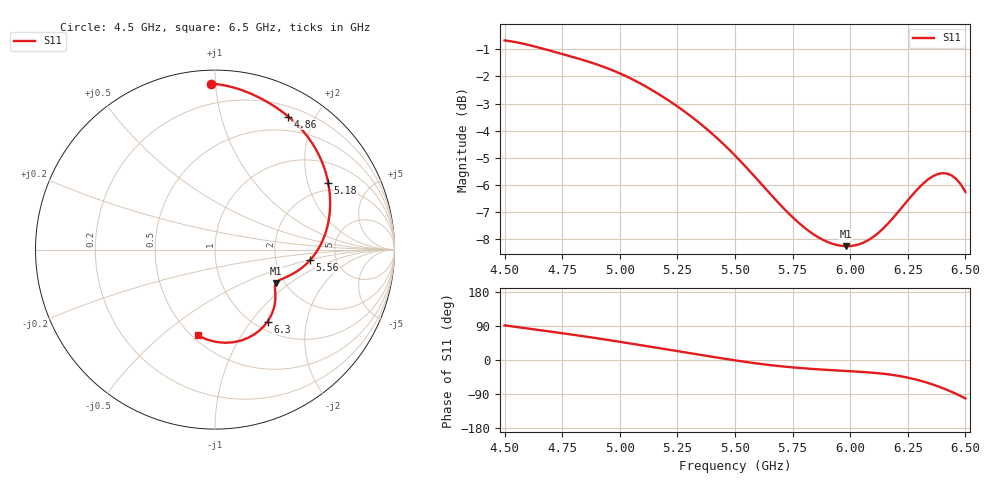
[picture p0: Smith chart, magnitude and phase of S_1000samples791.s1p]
! TOUCHSTONE file generated by CST MICROWAVE STUDIO
! Date and time: Sat Oct 29 09:46:52 2022
! Project name: L.cst
! Parameters = {Di=1.27; Epsilon_r=1.56; InnerDiameter=1.27; Length=2; Lf=10; Lg=60; OuterConductorThickness=0.2921; OuterDiameter=3.6; Wf=3; Wp=41.2; de=1.5; df=6.8; g=0.8; gx=0.648253; gy=4.45055; h=2.34; hf=1.524; px=9.82774; py=9.64397; w=9.7; wx=9.17949; wy=5.19342}
! Header version: 2018
! Port assignment regex: !\s*Touchstone port\s*([0-9]+)\s*=\s*(CST MWS port|CST DS port)\s*([0-9]+|Zmin|Zmax)\s*\(\"(.*)\"\)(\s*mode\s*([0-9]+))?.*
! Touchstone port assignment:
! Touchstone port 1 = CST MWS port 1 ("")
# GHz S DB R 50
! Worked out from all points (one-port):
!   101 points, 4.5 GHz to 6.5 GHz, reference 50 ohm
!   lowest |S11| = -8.2 dB at 5.98 GHz (marker M1), VSWR 2.26, Z = 90 - j39.6 ohm
!   |S11| at or under -10 dB: nowhere
!   S11 on the Smith chart (normalised r, x): 4.5 GHz: 0.08, +0.97; 4.86 GHz: 0.32, +1.65; 5.18 GHz: 1.70, +2.71; 5.56 GHz: 3.20, -0.51; 6.3 GHz: 1.14, -1.21; 6.5 GHz: 0.53, -0.67
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4.5  -0.68 91.4
4.56  -0.76 86.4
4.62  -0.88 81.5
4.76  -1.20 69.8
4.86  -1.45 61.1
4.92  -1.62 55.6
5  -1.89 48.0
5.1  -2.31 38.3
5.18  -2.71 30.4
5.26  -3.17 22.5
5.32  -3.55 16.5
5.38  -3.96 10.6
5.5  -4.91 -0.9
5.56  -5.45 -6.2
5.66  -6.39 -13.9
5.76  -7.26 -20.0
5.88  -8.01 -25.3
5.98  -8.25 -28.9
6  -8.25 -29.6
6.08  -8.02 -32.8
6.14  -7.63 -36.0
6.2  -7.07 -40.9
6.26  -6.46 -47.9
6.3  -6.08 -53.9
6.36  -5.67 -65.0
6.42  -5.58 -78.8
6.46  -5.77 -89.4
6.5  -6.25 -101.4
